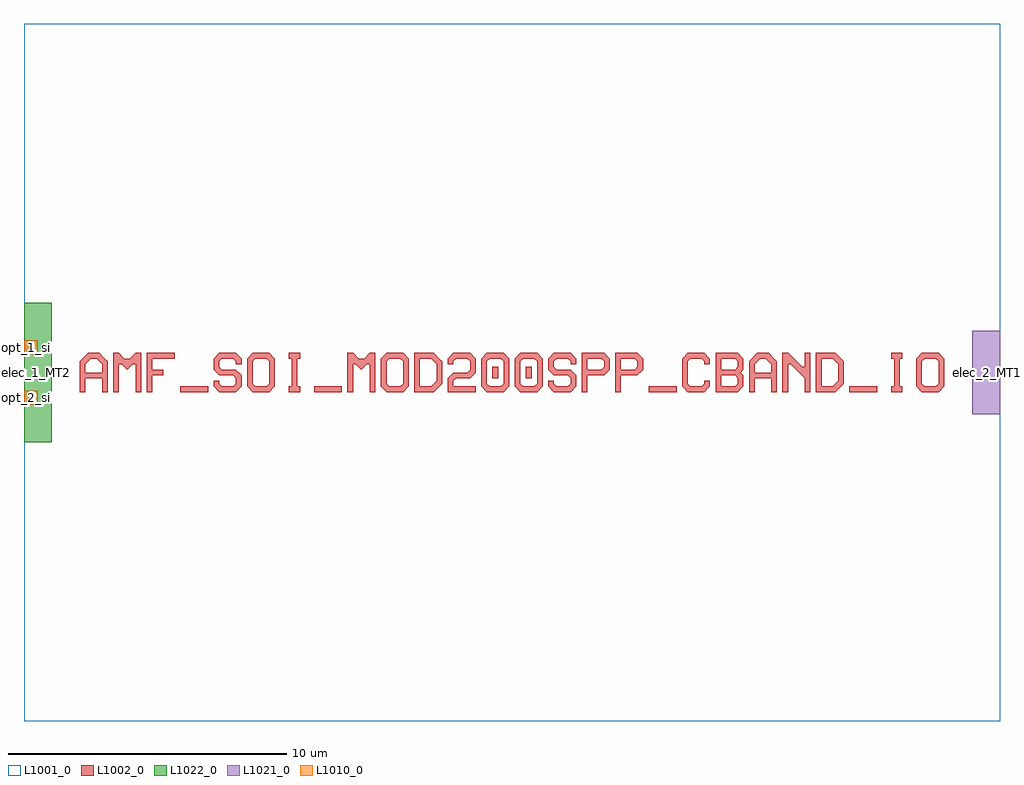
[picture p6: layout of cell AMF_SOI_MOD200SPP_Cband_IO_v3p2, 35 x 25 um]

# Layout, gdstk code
import gdstk
lib = gdstk.Library(unit=1e-6, precision=1e-09)
def R(c, l, rs):  # rectangles x0, y0, x1, y1
    for r in rs: c.add(gdstk.rectangle(r[:2], r[2:], *l))
def P(c, l, *ps):  # polygons
    for p in ps: c.add(gdstk.Polygon(p, *l))
L1001_0 = (1001, 0)
L1002_0 = (1002, 0)
L1010_0 = (1010, 0)
L1021_0 = (1021, 0)
L1022_0 = (1022, 0)

amf_soi_mod200spp_cband_ = lib.new_cell('AMF_SOI_MOD200SPP_Cband_IO_v3p2')
R(amf_soi_mod200spp_cband_, L1001_0, [(0,-12.5,35,12.5)])
R(amf_soi_mod200spp_cband_, L1002_0, [(5.6,-0.7,6.6,-0.5), (10.4,-0.7,11.4,-0.5), (22.4,-0.7,23.4,-0.5), (29.6,-0.7,30.6,-0.5), (16.8,-0.2,17,0.2), (18,-0.2,18.2,0.2)])
P(amf_soi_mod200spp_cband_, L1002_0, [(2,-0.7),(2,0.4),(2.3,0.7),(2.7,0.7),(2.9,0.5),(2.4,0.5),(2.2,0.3),(2.2,0),(2.8,0),(2.8,0.3),(2.6,0.5),(2.9,0.5),(3,0.4),(3,-0.7),(2.8,-0.7),(2.8,-0.2),(2.2,-0.2),(2.2,-0.7)],
  [(3.2,-0.7),(3.2,0.7),(3.4,0.7),(3.6,0.5),(3.8,0.5),(4,0.7),(4.2,0.7),(4.2,-0.7),(4,-0.7),(4,0.3),(3.9,0.3),(3.7,0.1),(3.5,0.3),(3.4,0.3),(3.4,-0.7)],
  [(4.4,-0.7),(4.4,0.7),(5.4,0.7),(5.4,0.5),(4.6,0.5),(4.6,0.1),(5,0.1),(5,-0.1),(4.6,-0.1),(4.6,-0.7)],
  [(7,-0.7),(6.8,-0.5),(6.8,-0.3),(7,-0.3),(7,-0.4),(7.1,-0.5),(7.5,-0.5),(7.6,-0.4),(7.6,-0.2),(7.5,-0.1),(7,-0.1),(6.8,0.1),(6.8,0.5),(7,0.7),(7.6,0.7),(7.8,0.5),(7.8,0.3),(7.6,0.3),(7.6,0.4),(7.5,0.5),(7.1,0.5),(7,0.4),(7,0.2),(7.1,0.1),(7.6,0.1),(7.8,-0.1),(7.8,-0.5),(7.6,-0.7)],
  [(8.2,-0.7),(8,-0.5),(8,0.5),(8.2,0.7),(8.8,0.7),(9,0.5),(9,0),(8.8,0),(8.8,0.4),(8.7,0.5),(8.3,0.5),(8.2,0.4),(8.2,-0.4),(8.3,-0.5),(8.7,-0.5),(8.8,-0.4),(8.8,0),(9,0),(9,-0.5),(8.8,-0.7)],
  [(9.5,-0.7),(9.5,-0.5),(9.6,-0.5),(9.6,0.5),(9.5,0.5),(9.5,0.7),(9.9,0.7),(9.9,0.5),(9.8,0.5),(9.8,-0.5),(9.9,-0.5),(9.9,-0.7)],
  [(11.6,-0.7),(11.6,0.7),(11.8,0.7),(12,0.5),(12.2,0.5),(12.4,0.7),(12.6,0.7),(12.6,-0.7),(12.4,-0.7),(12.4,0.3),(12.3,0.3),(12.1,0.1),(11.9,0.3),(11.8,0.3),(11.8,-0.7)],
  [(13,-0.7),(12.8,-0.5),(12.8,0.5),(13,0.7),(13.6,0.7),(13.8,0.5),(13.8,0),(13.6,0),(13.6,0.4),(13.5,0.5),(13.1,0.5),(13,0.4),(13,-0.4),(13.1,-0.5),(13.5,-0.5),(13.6,-0.4),(13.6,0),(13.8,0),(13.8,-0.5),(13.6,-0.7)],
  [(14,-0.7),(14,0.7),(14.7,0.7),(14.9,0.5),(14.2,0.5),(14.2,-0.5),(14.6,-0.5),(14.8,-0.3),(14.8,0.3),(14.6,0.5),(14.9,0.5),(15,0.4),(15,-0.4),(14.7,-0.7)],
  [(15.2,-0.7),(15.2,-0.2),(15.4,0),(15.9,0),(16,0.1),(16,0.4),(15.9,0.5),(15.5,0.5),(15.4,0.4),(15.4,0.3),(15.2,0.3),(15.2,0.5),(15.4,0.7),(16,0.7),(16.2,0.5),(16.2,0),(16,-0.2),(15.5,-0.2),(15.4,-0.3),(15.4,-0.5),(16.2,-0.5),(16.2,-0.7)],
  [(16.6,-0.7),(16.4,-0.5),(16.4,0.5),(16.6,0.7),(17.2,0.7),(17.4,0.5),(16.7,0.5),(16.6,0.4),(16.6,-0.4),(16.7,-0.5),(17.1,-0.5),(17.2,-0.4),(17.2,0.4),(17.1,0.5),(17.4,0.5),(17.4,-0.5),(17.2,-0.7)],
  [(17.8,-0.7),(17.6,-0.5),(17.6,0.5),(17.8,0.7),(18.4,0.7),(18.6,0.5),(17.9,0.5),(17.8,0.4),(17.8,-0.4),(17.9,-0.5),(18.3,-0.5),(18.4,-0.4),(18.4,0.4),(18.3,0.5),(18.6,0.5),(18.6,-0.5),(18.4,-0.7)],
  [(19,-0.7),(18.8,-0.5),(18.8,-0.3),(19,-0.3),(19,-0.4),(19.1,-0.5),(19.5,-0.5),(19.6,-0.4),(19.6,-0.2),(19.5,-0.1),(19,-0.1),(18.8,0.1),(18.8,0.5),(19,0.7),(19.6,0.7),(19.8,0.5),(19.8,0.3),(19.6,0.3),(19.6,0.4),(19.5,0.5),(19.1,0.5),(19,0.4),(19,0.2),(19.1,0.1),(19.6,0.1),(19.8,-0.1),(19.8,-0.5),(19.6,-0.7)],
  [(20,-0.7),(20,0.7),(20.8,0.7),(21,0.5),(21,0.1),(20.8,-0.1),(20.2,-0.1),(20.2,0.1),(20.7,0.1),(20.8,0.2),(20.8,0.4),(20.7,0.5),(20.2,0.5),(20.2,-0.7)],
  [(21.2,-0.7),(21.2,0.7),(22,0.7),(22.2,0.5),(22.2,0.1),(22,-0.1),(21.4,-0.1),(21.4,0.1),(21.9,0.1),(22,0.2),(22,0.4),(21.9,0.5),(21.4,0.5),(21.4,-0.7)],
  [(23.8,-0.7),(23.6,-0.5),(23.6,0.5),(23.8,0.7),(24.4,0.7),(24.6,0.5),(24.6,0.3),(24.4,0.3),(24.4,0.4),(24.3,0.5),(23.9,0.5),(23.8,0.4),(23.8,-0.4),(23.9,-0.5),(24.3,-0.5),(24.4,-0.4),(24.4,-0.3),(24.6,-0.3),(24.6,-0.5),(24.4,-0.7)],
  [(24.8,-0.7),(24.8,0.7),(25.6,0.7),(25.8,0.5),(25,0.5),(25,0.1),(25.5,0.1),(25.6,0.2),(25.6,0.4),(25.5,0.5),(25.8,0.5),(25.8,0.1),(25.7,0),(25.8,-0.1),(25,-0.1),(25,-0.5),(25.5,-0.5),(25.6,-0.4),(25.6,-0.2),(25.5,-0.1),(25.8,-0.1),(25.8,-0.5),(25.6,-0.7)],
  [(26,-0.7),(26,0.4),(26.3,0.7),(26.7,0.7),(26.9,0.5),(26.4,0.5),(26.2,0.3),(26.2,0),(26.8,0),(26.8,0.3),(26.6,0.5),(26.9,0.5),(27,0.4),(27,-0.7),(26.8,-0.7),(26.8,-0.2),(26.2,-0.2),(26.2,-0.7)],
  [(27.2,-0.7),(27.2,0.7),(27.4,0.7),(27.9,0.2),(28,0.2),(28,0.7),(28.2,0.7),(28.2,-0.7),(28,-0.7),(28,-0.2),(27.5,0.3),(27.4,0.3),(27.4,-0.7)],
  [(28.4,-0.7),(28.4,0.7),(29.1,0.7),(29.3,0.5),(28.6,0.5),(28.6,-0.5),(29,-0.5),(29.2,-0.3),(29.2,0.3),(29,0.5),(29.3,0.5),(29.4,0.4),(29.4,-0.4),(29.1,-0.7)],
  [(31.1,-0.7),(31.1,-0.5),(31.2,-0.5),(31.2,0.5),(31.1,0.5),(31.1,0.7),(31.5,0.7),(31.5,0.5),(31.4,0.5),(31.4,-0.5),(31.5,-0.5),(31.5,-0.7)],
  [(32.2,-0.7),(32,-0.5),(32,0.5),(32.2,0.7),(32.8,0.7),(33,0.5),(33,0),(32.8,0),(32.8,0.4),(32.7,0.5),(32.3,0.5),(32.2,0.4),(32.2,-0.4),(32.3,-0.5),(32.7,-0.5),(32.8,-0.4),(32.8,0),(33,0),(33,-0.5),(32.8,-0.7)])
R(amf_soi_mod200spp_cband_, L1010_0, [(0,-1.15,0.5,-0.65), (0,0.65,0.5,1.15)])
R(amf_soi_mod200spp_cband_, L1021_0, [(34,-1.5,35,1.5)])
R(amf_soi_mod200spp_cband_, L1022_0, [(0,-2.5,1,2.5)])
amf_soi_mod200spp_cband_.add(gdstk.Label('opt_1_si', (0,0.9), layer=1010, texttype=0))
amf_soi_mod200spp_cband_.add(gdstk.Label('opt_2_si', (0,-0.9), layer=1010, texttype=0))
amf_soi_mod200spp_cband_.add(gdstk.Label('elec_2_MT1', (35,0), layer=1021, texttype=0))
amf_soi_mod200spp_cband_.add(gdstk.Label('elec_1_MT2', (0,0), layer=1022, texttype=0))

lib.write_gds('AMF_SOI_MOD200SPP_Cband_IO_v3p2.gds')
